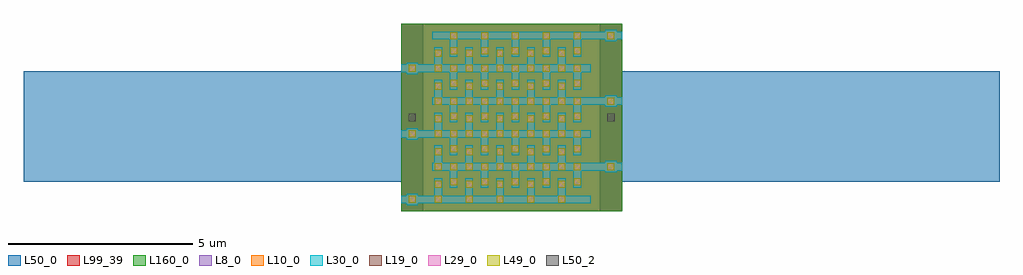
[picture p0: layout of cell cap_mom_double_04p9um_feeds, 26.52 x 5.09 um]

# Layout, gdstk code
import gdstk
lib = gdstk.Library(unit=1e-6, precision=1e-09)
def R(c, l, rs):  # rectangles x0, y0, x1, y1
    for r in rs: c.add(gdstk.rectangle(r[:2], r[2:], *l))
def A(c, l, x, y, w, h, nx, ny, dx, dy):  # array of equal rectangles
    R(c, l, [(x+i*dx, y+j*dy, x+i*dx+w, y+j*dy+h) for i in range(nx) for j in range(ny)])
L8_0 = (8, 0)
L10_0 = (10, 0)
L19_0 = (19, 0)
L29_0 = (29, 0)
L30_0 = (30, 0)
L49_0 = (49, 0)
L50_0 = (50, 0)
L50_2 = (50, 2)
L99_39 = (99, 39)
L160_0 = (160, 0)

cap_mom_double_04p9um_fe = lib.new_cell('cap_mom_double_04p9um_feeds')
A(cap_mom_double_04p9um_fe, L8_0, -2.855, -2.13, 0.31, 0.31, 1, 3, 0, 1.78)
A(cap_mom_double_04p9um_fe, L8_0, -3, -2.08, 5.15, 0.21, 1, 3, 0, 1.78)
A(cap_mom_double_04p9um_fe, L8_0, -2.1, -1.975, 0.21, 0.575, 5, 5, 0.84, 0.89)
A(cap_mom_double_04p9um_fe, L8_0, -1.68, -1.66, 0.21, 0.575, 5, 5, 0.84, 0.89)
A(cap_mom_double_04p9um_fe, L8_0, 2.545, -1.24, 0.31, 0.31, 1, 3, 0, 1.78)
A(cap_mom_double_04p9um_fe, L8_0, -2.15, -1.19, 5.15, 0.21, 1, 3, 0, 1.78)
A(cap_mom_double_04p9um_fe, L10_0, -2.855, -2.13, 0.31, 0.31, 1, 3, 0, 1.78)
A(cap_mom_double_04p9um_fe, L10_0, -3, -2.08, 5.15, 0.21, 1, 3, 0, 1.78)
A(cap_mom_double_04p9um_fe, L10_0, -2.1, -1.975, 0.21, 0.575, 5, 5, 0.84, 0.89)
A(cap_mom_double_04p9um_fe, L10_0, -1.68, -1.66, 0.21, 0.575, 5, 5, 0.84, 0.89)
A(cap_mom_double_04p9um_fe, L10_0, 2.545, -1.24, 0.31, 0.31, 1, 3, 0, 1.78)
A(cap_mom_double_04p9um_fe, L10_0, -2.15, -1.19, 5.15, 0.21, 1, 3, 0, 1.78)
A(cap_mom_double_04p9um_fe, L19_0, -2.795, -2.07, 0.19, 0.19, 1, 3, 0, 1.78)
A(cap_mom_double_04p9um_fe, L19_0, -2.09, -2.07, 0.19, 0.19, 5, 2, 0.84, 0.41)
A(cap_mom_double_04p9um_fe, L19_0, -1.67, -1.59, 0.19, 0.19, 5, 5, 0.84, 0.89)
A(cap_mom_double_04p9um_fe, L19_0, -2.09, -1.18, 0.19, 0.19, 10, 4, 0.42, 0.89)
A(cap_mom_double_04p9um_fe, L19_0, 2.605, -1.18, 0.19, 0.19, 1, 3, 0, 1.78)
A(cap_mom_double_04p9um_fe, L19_0, -2.09, -0.77, 0.19, 0.19, 5, 4, 0.84, 0.89)
A(cap_mom_double_04p9um_fe, L19_0, -1.67, 2.38, 0.19, 0.19, 5, 1, 0.84, 0)
A(cap_mom_double_04p9um_fe, L29_0, -2.795, -2.07, 0.19, 0.19, 1, 3, 0, 1.78)
A(cap_mom_double_04p9um_fe, L29_0, -2.09, -2.07, 0.19, 0.19, 5, 2, 0.84, 0.41)
A(cap_mom_double_04p9um_fe, L29_0, -1.67, -1.59, 0.19, 0.19, 5, 5, 0.84, 0.89)
A(cap_mom_double_04p9um_fe, L29_0, -2.09, -1.18, 0.19, 0.19, 10, 4, 0.42, 0.89)
A(cap_mom_double_04p9um_fe, L29_0, 2.605, -1.18, 0.19, 0.19, 1, 3, 0, 1.78)
A(cap_mom_double_04p9um_fe, L29_0, -2.09, -0.77, 0.19, 0.19, 5, 4, 0.84, 0.89)
A(cap_mom_double_04p9um_fe, L29_0, -1.67, 2.38, 0.19, 0.19, 5, 1, 0.84, 0)
A(cap_mom_double_04p9um_fe, L30_0, -2.855, -2.13, 0.31, 0.31, 1, 3, 0, 1.78)
A(cap_mom_double_04p9um_fe, L30_0, -3, -2.08, 5.15, 0.21, 1, 3, 0, 1.78)
A(cap_mom_double_04p9um_fe, L30_0, -2.1, -1.975, 0.21, 0.575, 5, 5, 0.84, 0.89)
A(cap_mom_double_04p9um_fe, L30_0, -1.68, -1.66, 0.21, 0.575, 5, 5, 0.84, 0.89)
A(cap_mom_double_04p9um_fe, L30_0, 2.545, -1.24, 0.31, 0.31, 1, 3, 0, 1.78)
A(cap_mom_double_04p9um_fe, L30_0, -2.15, -1.19, 5.15, 0.21, 1, 3, 0, 1.78)
A(cap_mom_double_04p9um_fe, L49_0, -2.795, -2.07, 0.19, 0.19, 1, 3, 0, 1.78)
A(cap_mom_double_04p9um_fe, L49_0, -2.09, -2.07, 0.19, 0.19, 5, 2, 0.84, 0.41)
A(cap_mom_double_04p9um_fe, L49_0, -1.67, -1.59, 0.19, 0.19, 5, 5, 0.84, 0.89)
A(cap_mom_double_04p9um_fe, L49_0, -2.09, -1.18, 0.19, 0.19, 10, 4, 0.42, 0.89)
A(cap_mom_double_04p9um_fe, L49_0, 2.605, -1.18, 0.19, 0.19, 1, 3, 0, 1.78)
A(cap_mom_double_04p9um_fe, L49_0, -2.09, -0.77, 0.19, 0.19, 5, 4, 0.84, 0.89)
A(cap_mom_double_04p9um_fe, L49_0, -1.67, 2.38, 0.19, 0.19, 5, 1, 0.84, 0)
A(cap_mom_double_04p9um_fe, L50_0, -3, -2.08, 5.15, 0.21, 1, 3, 0, 1.78)
A(cap_mom_double_04p9um_fe, L50_0, -2.1, -1.975, 0.21, 0.575, 5, 5, 0.84, 0.89)
A(cap_mom_double_04p9um_fe, L50_0, -1.68, -1.66, 0.21, 0.575, 5, 5, 0.84, 0.89)
A(cap_mom_double_04p9um_fe, L50_0, -2.15, -1.19, 5.15, 0.21, 1, 3, 0, 1.78)
R(cap_mom_double_04p9um_fe, L50_0, [(-3,-2.295,-2.4,2.795), (2.4,-2.295,3,2.795), (-13.26,-1.5,-3,1.5), (3,-1.5,13.255,1.5)])
R(cap_mom_double_04p9um_fe, L50_2, [(-2.8,0.145,-2.6,0.355), (2.6,0.145,2.8,0.355)])
R(cap_mom_double_04p9um_fe, L99_39, [(-3,-2.295,3,2.795)])
R(cap_mom_double_04p9um_fe, L160_0, [(-3,-2.295,3,2.795)])

lib.write_gds('cap_mom_double_04p9um_feeds.gds')
